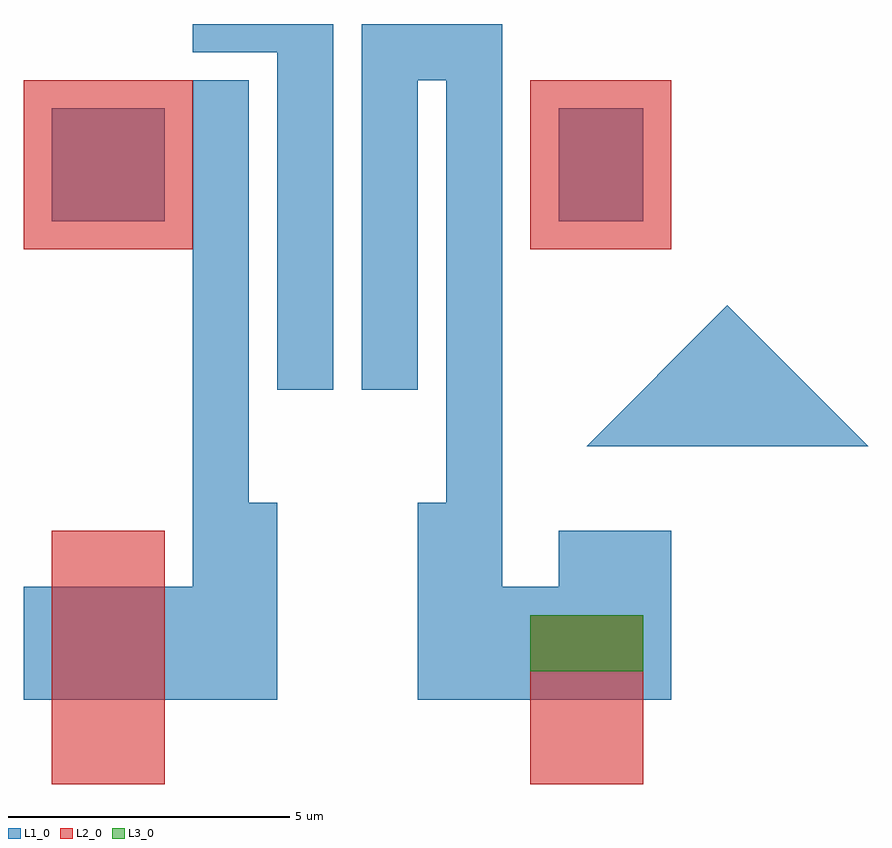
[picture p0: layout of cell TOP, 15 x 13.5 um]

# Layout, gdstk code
import gdstk
lib = gdstk.Library(unit=1e-6, precision=1e-09)
def R(c, l, rs):  # rectangles x0, y0, x1, y1
    for r in rs: c.add(gdstk.rectangle(r[:2], r[2:], *l))
def A(c, l, x, y, w, h, nx, ny, dx, dy):  # array of equal rectangles
    R(c, l, [(x+i*dx, y+j*dy, x+i*dx+w, y+j*dy+h) for i in range(nx) for j in range(ny)])
def P(c, l, *ps):  # polygons
    for p in ps: c.add(gdstk.Polygon(p, *l))
L1_0 = (1, 0)
L2_0 = (2, 0)
L3_0 = (3, 0)
L100_0 = (100, 0)
L101_0 = (101, 0)
L102_0 = (102, 0)
L103_0 = (103, 0)
L110_0 = (110, 0)
L111_0 = (111, 0)
L112_0 = (112, 0)
L113_0 = (113, 0)
L114_0 = (114, 0)
L115_0 = (115, 0)
L116_0 = (116, 0)

top = lib.new_cell('TOP')
A(top, L1_0, -4.5, 0, 1, 5.5, 4, 1, 1.5, 0)
R(top, L1_0, [(-7.5,-5.5,-4.5,-3.5), (-4.5,-5.5,-3.5,0), (-3.5,-5.5,-3,-2), (-0.5,-5.5,0,-2), (0,-5.5,1,0), (1,-5.5,4,-3.5), (2,-3.5,4,-2.5), (-7,3,-5.5,5), (-6,3,-5,5), (2,3,3.5,5), (-3,5.5,-2,6.5), (-1.5,5.5,1,6.5), (-4.5,6,-3,6.5)])
P(top, L1_0, [(2.5,-1),(5,1.5),(7.5,-1)])
R(top, L2_0, [(-7,-7,-5,-4), (1.5,-7,3.5,-4), (-7,-4,-5,-2.5), (-7.5,2.5,-5,5.5), (-5.5,2.5,-4.5,5.5), (1.5,2.5,4,5.5)])
R(top, L3_0, [(1.5,-5,3.5,-4)])
top.add(gdstk.FlexPath([(-3,0),(-3,6)], 0, ends="flush", simple_path=True, layer=100, datatype=0))  # L100_0
top.add(gdstk.FlexPath([(-2,6.5),(-2,0)], 0, ends="flush", simple_path=True, layer=100, datatype=0))  # L100_0
top.add(gdstk.FlexPath([(-0.5,5.5),(-0.5,0)], 0, ends="flush", simple_path=True, layer=100, datatype=0))  # L100_0
top.add(gdstk.FlexPath([(-1.5,0),(-1.5,6.5)], 0, ends="flush", simple_path=True, layer=100, datatype=0))  # L100_0
top.add(gdstk.FlexPath([(-4.5,-3.5),(-4.5,5.5)], 0, ends="flush", simple_path=True, layer=100, datatype=0))  # L100_0
top.add(gdstk.FlexPath([(0,-2),(0,5.5)], 0, ends="flush", simple_path=True, layer=100, datatype=0))  # L100_0
top.add(gdstk.FlexPath([(-3.5,5.5),(-3.5,-2)], 0, ends="flush", simple_path=True, layer=100, datatype=0))  # L100_0
top.add(gdstk.FlexPath([(1,6.5),(1,-3.5)], 0, ends="flush", simple_path=True, layer=100, datatype=0))  # L100_0
top.add(gdstk.FlexPath([(2.5,-1),(5,1.5)], 0, ends="flush", simple_path=True, layer=101, datatype=0))  # L101_0
top.add(gdstk.FlexPath([(5,1.5),(7.5,-1)], 0, ends="flush", simple_path=True, layer=101, datatype=0))  # L101_0
top.add(gdstk.FlexPath([(7.5,-1),(2.5,-1)], 0, ends="flush", simple_path=True, layer=101, datatype=0))  # L101_0
top.add(gdstk.FlexPath([(-3,-2),(-3,-5.5)], 0, ends="flush", simple_path=True, layer=101, datatype=0))  # L101_0
top.add(gdstk.FlexPath([(-3,-5.5),(-7.5,-5.5)], 0, ends="flush", simple_path=True, layer=101, datatype=0))  # L101_0
top.add(gdstk.FlexPath([(-7.5,-3.5),(-4.5,-3.5)], 0, ends="flush", simple_path=True, layer=101, datatype=0))  # L101_0
top.add(gdstk.FlexPath([(-4.5,6.5),(-2,6.5)], 0, ends="flush", simple_path=True, layer=101, datatype=0))  # L101_0
top.add(gdstk.FlexPath([(-1.5,6.5),(1,6.5)], 0, ends="flush", simple_path=True, layer=101, datatype=0))  # L101_0
top.add(gdstk.FlexPath([(4,-2.5),(4,-5.5)], 0, ends="flush", simple_path=True, layer=101, datatype=0))  # L101_0
top.add(gdstk.FlexPath([(4,-5.5),(-0.5,-5.5)], 0, ends="flush", simple_path=True, layer=101, datatype=0))  # L101_0
top.add(gdstk.FlexPath([(-0.5,-5.5),(-0.5,-2)], 0, ends="flush", simple_path=True, layer=101, datatype=0))  # L101_0
top.add(gdstk.FlexPath([(-7,3),(-7,5)], 0, ends="flush", simple_path=True, layer=102, datatype=0))  # L102_0
top.add(gdstk.FlexPath([(-5,5),(-5,3)], 0, ends="flush", simple_path=True, layer=102, datatype=0))  # L102_0
top.add(gdstk.FlexPath([(-0.5,0),(-1.5,0)], 0, ends="flush", simple_path=True, layer=102, datatype=0))  # L102_0
top.add(gdstk.FlexPath([(2,3),(2,5)], 0, ends="flush", simple_path=True, layer=102, datatype=0))  # L102_0
top.add(gdstk.FlexPath([(-4.5,6),(-4.5,6.5)], 0, ends="flush", simple_path=True, layer=102, datatype=0))  # L102_0
top.add(gdstk.FlexPath([(2,-2.5),(4,-2.5)], 0, ends="flush", simple_path=True, layer=102, datatype=0))  # L102_0
top.add(gdstk.FlexPath([(-0.5,-2),(0,-2)], 0, ends="flush", simple_path=True, layer=102, datatype=0))  # L102_0
top.add(gdstk.FlexPath([(2,-3.5),(2,-2.5)], 0, ends="flush", simple_path=True, layer=102, datatype=0))  # L102_0
top.add(gdstk.FlexPath([(1,-3.5),(2,-3.5)], 0, ends="flush", simple_path=True, layer=102, datatype=0))  # L102_0
top.add(gdstk.FlexPath([(-2,0),(-3,0)], 0, ends="flush", simple_path=True, layer=102, datatype=0))  # L102_0
top.add(gdstk.FlexPath([(2,5),(3.5,5)], 0, ends="flush", simple_path=True, layer=102, datatype=0))  # L102_0
top.add(gdstk.FlexPath([(-3,6),(-4.5,6)], 0, ends="flush", simple_path=True, layer=102, datatype=0))  # L102_0
top.add(gdstk.FlexPath([(-5,3),(-7,3)], 0, ends="flush", simple_path=True, layer=102, datatype=0))  # L102_0
top.add(gdstk.FlexPath([(-4.5,5.5),(-3.5,5.5)], 0, ends="flush", simple_path=True, layer=102, datatype=0))  # L102_0
top.add(gdstk.FlexPath([(-7,5),(-5,5)], 0, ends="flush", simple_path=True, layer=102, datatype=0))  # L102_0
top.add(gdstk.FlexPath([(3.5,5),(3.5,3)], 0, ends="flush", simple_path=True, layer=102, datatype=0))  # L102_0
top.add(gdstk.FlexPath([(0,5.5),(-0.5,5.5)], 0, ends="flush", simple_path=True, layer=102, datatype=0))  # L102_0
top.add(gdstk.FlexPath([(-3.5,-2),(-3,-2)], 0, ends="flush", simple_path=True, layer=102, datatype=0))  # L102_0
top.add(gdstk.FlexPath([(-7.5,-5.5),(-7.5,-3.5)], 0, ends="flush", simple_path=True, layer=102, datatype=0))  # L102_0
top.add(gdstk.FlexPath([(3.5,3),(2,3)], 0, ends="flush", simple_path=True, layer=102, datatype=0))  # L102_0
top.add(gdstk.FlexPath([(-7,3),(-7,5)], 0, ends="flush", simple_path=True, layer=103, datatype=0))  # L103_0
top.add(gdstk.FlexPath([(-7,5),(-5,5)], 0, ends="flush", simple_path=True, layer=103, datatype=0))  # L103_0
top.add(gdstk.FlexPath([(-5,3),(-7,3)], 0, ends="flush", simple_path=True, layer=103, datatype=0))  # L103_0
top.add(gdstk.FlexPath([(-5,5),(-5,3)], 0, ends="flush", simple_path=True, layer=103, datatype=0))  # L103_0
top.add(gdstk.FlexPath([(3.5,5),(3.5,3)], 0, ends="flush", simple_path=True, layer=103, datatype=0))  # L103_0
top.add(gdstk.FlexPath([(2,3),(2,5)], 0, ends="flush", simple_path=True, layer=103, datatype=0))  # L103_0
top.add(gdstk.FlexPath([(-7.5,-5.5),(-7.5,-3.5)], 0, ends="flush", simple_path=True, layer=103, datatype=0))  # L103_0
top.add(gdstk.FlexPath([(2,-2.5),(4,-2.5)], 0, ends="flush", simple_path=True, layer=103, datatype=0))  # L103_0
top.add(gdstk.FlexPath([(3.5,3),(2,3)], 0, ends="flush", simple_path=True, layer=110, datatype=0))  # L110_0
top.add(gdstk.FlexPath([(-3,-5.5),(-7.5,-5.5)], 0, ends="flush", simple_path=True, layer=110, datatype=0))  # L110_0
top.add(gdstk.FlexPath([(-1.5,6.5),(1,6.5)], 0, ends="flush", simple_path=True, layer=110, datatype=0))  # L110_0
top.add(gdstk.FlexPath([(-0.5,0),(-1.5,0)], 0, ends="flush", simple_path=True, layer=110, datatype=0))  # L110_0
top.add(gdstk.FlexPath([(2,-2.5),(4,-2.5)], 0, ends="flush", simple_path=True, layer=110, datatype=0))  # L110_0
top.add(gdstk.FlexPath([(-0.5,-2),(0,-2)], 0, ends="flush", simple_path=True, layer=110, datatype=0))  # L110_0
top.add(gdstk.FlexPath([(-7.5,-3.5),(-4.5,-3.5)], 0, ends="flush", simple_path=True, layer=110, datatype=0))  # L110_0
top.add(gdstk.FlexPath([(1,-3.5),(2,-3.5)], 0, ends="flush", simple_path=True, layer=110, datatype=0))  # L110_0
top.add(gdstk.FlexPath([(-2,0),(-3,0)], 0, ends="flush", simple_path=True, layer=110, datatype=0))  # L110_0
top.add(gdstk.FlexPath([(7.5,-1),(2.5,-1)], 0, ends="flush", simple_path=True, layer=110, datatype=0))  # L110_0
top.add(gdstk.FlexPath([(-4.5,6.5),(-2,6.5)], 0, ends="flush", simple_path=True, layer=110, datatype=0))  # L110_0
top.add(gdstk.FlexPath([(2,5),(3.5,5)], 0, ends="flush", simple_path=True, layer=110, datatype=0))  # L110_0
top.add(gdstk.FlexPath([(4,-5.5),(-0.5,-5.5)], 0, ends="flush", simple_path=True, layer=110, datatype=0))  # L110_0
top.add(gdstk.FlexPath([(-3,6),(-4.5,6)], 0, ends="flush", simple_path=True, layer=110, datatype=0))  # L110_0
top.add(gdstk.FlexPath([(-7,5),(-5,5)], 0, ends="flush", simple_path=True, layer=110, datatype=0))  # L110_0
top.add(gdstk.FlexPath([(0,5.5),(-0.5,5.5)], 0, ends="flush", simple_path=True, layer=110, datatype=0))  # L110_0
top.add(gdstk.FlexPath([(-3.5,-2),(-3,-2)], 0, ends="flush", simple_path=True, layer=110, datatype=0))  # L110_0
top.add(gdstk.FlexPath([(-5,3),(-7,3)], 0, ends="flush", simple_path=True, layer=110, datatype=0))  # L110_0
top.add(gdstk.FlexPath([(-4.5,5.5),(-3.5,5.5)], 0, ends="flush", simple_path=True, layer=110, datatype=0))  # L110_0
top.add(gdstk.FlexPath([(5,1.5),(7.5,-1)], 0, ends="flush", simple_path=True, layer=111, datatype=0))  # L111_0
top.add(gdstk.FlexPath([(-7,3),(-7,5)], 0, ends="flush", simple_path=True, layer=112, datatype=0))  # L112_0
top.add(gdstk.FlexPath([(2.5,-1),(5,1.5)], 0, ends="flush", simple_path=True, layer=112, datatype=0))  # L112_0
top.add(gdstk.FlexPath([(-5,5),(-5,3)], 0, ends="flush", simple_path=True, layer=112, datatype=0))  # L112_0
top.add(gdstk.FlexPath([(3.5,5),(3.5,3)], 0, ends="flush", simple_path=True, layer=112, datatype=0))  # L112_0
top.add(gdstk.FlexPath([(-7.5,-5.5),(-7.5,-3.5)], 0, ends="flush", simple_path=True, layer=112, datatype=0))  # L112_0
top.add(gdstk.FlexPath([(-3.5,5.5),(-3.5,-2)], 0, ends="flush", simple_path=True, layer=112, datatype=0))  # L112_0
top.add(gdstk.FlexPath([(-4.5,-3.5),(-4.5,5.5)], 0, ends="flush", simple_path=True, layer=112, datatype=0))  # L112_0
top.add(gdstk.FlexPath([(0,-2),(0,5.5)], 0, ends="flush", simple_path=True, layer=112, datatype=0))  # L112_0
top.add(gdstk.FlexPath([(4,-2.5),(4,-5.5)], 0, ends="flush", simple_path=True, layer=112, datatype=0))  # L112_0
top.add(gdstk.FlexPath([(-2,6.5),(-2,0)], 0, ends="flush", simple_path=True, layer=112, datatype=0))  # L112_0
top.add(gdstk.FlexPath([(-1.5,0),(-1.5,6.5)], 0, ends="flush", simple_path=True, layer=112, datatype=0))  # L112_0
top.add(gdstk.FlexPath([(-0.5,5.5),(-0.5,0)], 0, ends="flush", simple_path=True, layer=112, datatype=0))  # L112_0
top.add(gdstk.FlexPath([(2,3),(2,5)], 0, ends="flush", simple_path=True, layer=112, datatype=0))  # L112_0
top.add(gdstk.FlexPath([(-4.5,6),(-4.5,6.5)], 0, ends="flush", simple_path=True, layer=112, datatype=0))  # L112_0
top.add(gdstk.FlexPath([(1,6.5),(1,-3.5)], 0, ends="flush", simple_path=True, layer=112, datatype=0))  # L112_0
top.add(gdstk.FlexPath([(-0.5,-5.5),(-0.5,-2)], 0, ends="flush", simple_path=True, layer=112, datatype=0))  # L112_0
top.add(gdstk.FlexPath([(2,-3.5),(2,-2.5)], 0, ends="flush", simple_path=True, layer=112, datatype=0))  # L112_0
top.add(gdstk.FlexPath([(-3,0),(-3,6)], 0, ends="flush", simple_path=True, layer=112, datatype=0))  # L112_0
top.add(gdstk.FlexPath([(-3,-2),(-3,-5.5)], 0, ends="flush", simple_path=True, layer=112, datatype=0))  # L112_0
top.add(gdstk.FlexPath([(-7,3),(-7,5)], 0, ends="flush", simple_path=True, layer=113, datatype=0))  # L113_0
top.add(gdstk.FlexPath([(-5,5),(-5,3)], 0, ends="flush", simple_path=True, layer=113, datatype=0))  # L113_0
top.add(gdstk.FlexPath([(3.5,5),(3.5,3)], 0, ends="flush", simple_path=True, layer=113, datatype=0))  # L113_0
top.add(gdstk.FlexPath([(-7.5,-5.5),(-7.5,-3.5)], 0, ends="flush", simple_path=True, layer=113, datatype=0))  # L113_0
top.add(gdstk.FlexPath([(-3.5,5.5),(-3.5,-2)], 0, ends="flush", simple_path=True, layer=113, datatype=0))  # L113_0
top.add(gdstk.FlexPath([(-4.5,-3.5),(-4.5,5.5)], 0, ends="flush", simple_path=True, layer=113, datatype=0))  # L113_0
top.add(gdstk.FlexPath([(0,-2),(0,5.5)], 0, ends="flush", simple_path=True, layer=113, datatype=0))  # L113_0
top.add(gdstk.FlexPath([(4,-2.5),(4,-5.5)], 0, ends="flush", simple_path=True, layer=113, datatype=0))  # L113_0
top.add(gdstk.FlexPath([(-2,6.5),(-2,0)], 0, ends="flush", simple_path=True, layer=113, datatype=0))  # L113_0
top.add(gdstk.FlexPath([(-1.5,0),(-1.5,6.5)], 0, ends="flush", simple_path=True, layer=113, datatype=0))  # L113_0
top.add(gdstk.FlexPath([(-0.5,5.5),(-0.5,0)], 0, ends="flush", simple_path=True, layer=113, datatype=0))  # L113_0
top.add(gdstk.FlexPath([(2,3),(2,5)], 0, ends="flush", simple_path=True, layer=113, datatype=0))  # L113_0
top.add(gdstk.FlexPath([(-4.5,6),(-4.5,6.5)], 0, ends="flush", simple_path=True, layer=113, datatype=0))  # L113_0
top.add(gdstk.FlexPath([(1,6.5),(1,-3.5)], 0, ends="flush", simple_path=True, layer=113, datatype=0))  # L113_0
top.add(gdstk.FlexPath([(-0.5,-5.5),(-0.5,-2)], 0, ends="flush", simple_path=True, layer=113, datatype=0))  # L113_0
top.add(gdstk.FlexPath([(2,-3.5),(2,-2.5)], 0, ends="flush", simple_path=True, layer=113, datatype=0))  # L113_0
top.add(gdstk.FlexPath([(-3,0),(-3,6)], 0, ends="flush", simple_path=True, layer=113, datatype=0))  # L113_0
top.add(gdstk.FlexPath([(-3,-2),(-3,-5.5)], 0, ends="flush", simple_path=True, layer=113, datatype=0))  # L113_0
top.add(gdstk.FlexPath([(7.5,-1),(2.5,-1)], 0, ends="flush", simple_path=True, layer=114, datatype=0))  # L114_0
top.add(gdstk.FlexPath([(-5,3),(-7,3)], 0, ends="flush", simple_path=True, layer=114, datatype=0))  # L114_0
top.add(gdstk.FlexPath([(-5,5),(-5,3)], 0, ends="flush", simple_path=True, layer=114, datatype=0))  # L114_0
top.add(gdstk.FlexPath([(-7,3),(-7,5)], 0, ends="flush", simple_path=True, layer=114, datatype=0))  # L114_0
top.add(gdstk.FlexPath([(2,3),(2,5)], 0, ends="flush", simple_path=True, layer=114, datatype=0))  # L114_0
top.add(gdstk.FlexPath([(0,-2),(0,5.5)], 0, ends="flush", simple_path=True, layer=114, datatype=0))  # L114_0
top.add(gdstk.FlexPath([(4,-5.5),(-0.5,-5.5)], 0, ends="flush", simple_path=True, layer=114, datatype=0))  # L114_0
top.add(gdstk.FlexPath([(4,-2.5),(4,-5.5)], 0, ends="flush", simple_path=True, layer=114, datatype=0))  # L114_0
top.add(gdstk.FlexPath([(-3,6),(-4.5,6)], 0, ends="flush", simple_path=True, layer=114, datatype=0))  # L114_0
top.add(gdstk.FlexPath([(1,6.5),(1,-3.5)], 0, ends="flush", simple_path=True, layer=114, datatype=0))  # L114_0
top.add(gdstk.FlexPath([(-0.5,-5.5),(-0.5,-2)], 0, ends="flush", simple_path=True, layer=114, datatype=0))  # L114_0
top.add(gdstk.FlexPath([(1,-3.5),(2,-3.5)], 0, ends="flush", simple_path=True, layer=114, datatype=0))  # L114_0
top.add(gdstk.FlexPath([(2,-2.5),(4,-2.5)], 0, ends="flush", simple_path=True, layer=114, datatype=0))  # L114_0
top.add(gdstk.FlexPath([(-3.5,5.5),(-3.5,-2)], 0, ends="flush", simple_path=True, layer=114, datatype=0))  # L114_0
top.add(gdstk.FlexPath([(0,5.5),(-0.5,5.5)], 0, ends="flush", simple_path=True, layer=114, datatype=0))  # L114_0
top.add(gdstk.FlexPath([(-3.5,-2),(-3,-2)], 0, ends="flush", simple_path=True, layer=114, datatype=0))  # L114_0
top.add(gdstk.FlexPath([(-1.5,0),(-1.5,6.5)], 0, ends="flush", simple_path=True, layer=114, datatype=0))  # L114_0
top.add(gdstk.FlexPath([(3.5,5),(3.5,3)], 0, ends="flush", simple_path=True, layer=114, datatype=0))  # L114_0
top.add(gdstk.FlexPath([(-0.5,5.5),(-0.5,0)], 0, ends="flush", simple_path=True, layer=114, datatype=0))  # L114_0
top.add(gdstk.FlexPath([(-2,0),(-3,0)], 0, ends="flush", simple_path=True, layer=114, datatype=0))  # L114_0
top.add(gdstk.FlexPath([(-0.5,0),(-1.5,0)], 0, ends="flush", simple_path=True, layer=114, datatype=0))  # L114_0
top.add(gdstk.FlexPath([(-1.5,6.5),(1,6.5)], 0, ends="flush", simple_path=True, layer=114, datatype=0))  # L114_0
top.add(gdstk.FlexPath([(3.5,3),(2,3)], 0, ends="flush", simple_path=True, layer=114, datatype=0))  # L114_0
top.add(gdstk.FlexPath([(2,-3.5),(2,-2.5)], 0, ends="flush", simple_path=True, layer=114, datatype=0))  # L114_0
top.add(gdstk.FlexPath([(2,5),(3.5,5)], 0, ends="flush", simple_path=True, layer=114, datatype=0))  # L114_0
top.add(gdstk.FlexPath([(-0.5,-2),(0,-2)], 0, ends="flush", simple_path=True, layer=114, datatype=0))  # L114_0
top.add(gdstk.FlexPath([(-7.5,-5.5),(-7.5,-3.5)], 0, ends="flush", simple_path=True, layer=114, datatype=0))  # L114_0
top.add(gdstk.FlexPath([(-4.5,6),(-4.5,6.5)], 0, ends="flush", simple_path=True, layer=114, datatype=0))  # L114_0
top.add(gdstk.FlexPath([(-7.5,-3.5),(-4.5,-3.5)], 0, ends="flush", simple_path=True, layer=114, datatype=0))  # L114_0
top.add(gdstk.FlexPath([(-3,0),(-3,6)], 0, ends="flush", simple_path=True, layer=114, datatype=0))  # L114_0
top.add(gdstk.FlexPath([(-4.5,6.5),(-2,6.5)], 0, ends="flush", simple_path=True, layer=114, datatype=0))  # L114_0
top.add(gdstk.FlexPath([(-4.5,-3.5),(-4.5,5.5)], 0, ends="flush", simple_path=True, layer=114, datatype=0))  # L114_0
top.add(gdstk.FlexPath([(-7,5),(-5,5)], 0, ends="flush", simple_path=True, layer=114, datatype=0))  # L114_0
top.add(gdstk.FlexPath([(-3,-2),(-3,-5.5)], 0, ends="flush", simple_path=True, layer=114, datatype=0))  # L114_0
top.add(gdstk.FlexPath([(-2,6.5),(-2,0)], 0, ends="flush", simple_path=True, layer=114, datatype=0))  # L114_0
top.add(gdstk.FlexPath([(-3,-5.5),(-7.5,-5.5)], 0, ends="flush", simple_path=True, layer=114, datatype=0))  # L114_0
top.add(gdstk.FlexPath([(-4.5,5.5),(-3.5,5.5)], 0, ends="flush", simple_path=True, layer=114, datatype=0))  # L114_0
top.add(gdstk.FlexPath([(2.5,-1),(5,1.5)], 0, ends="flush", simple_path=True, layer=115, datatype=0))  # L115_0
top.add(gdstk.FlexPath([(2.5,-1),(5,1.5)], 0, ends="flush", simple_path=True, layer=116, datatype=0))  # L116_0
top.add(gdstk.FlexPath([(5,1.5),(7.5,-1)], 0, ends="flush", simple_path=True, layer=116, datatype=0))  # L116_0

lib.write_gds('TOP.gds')
